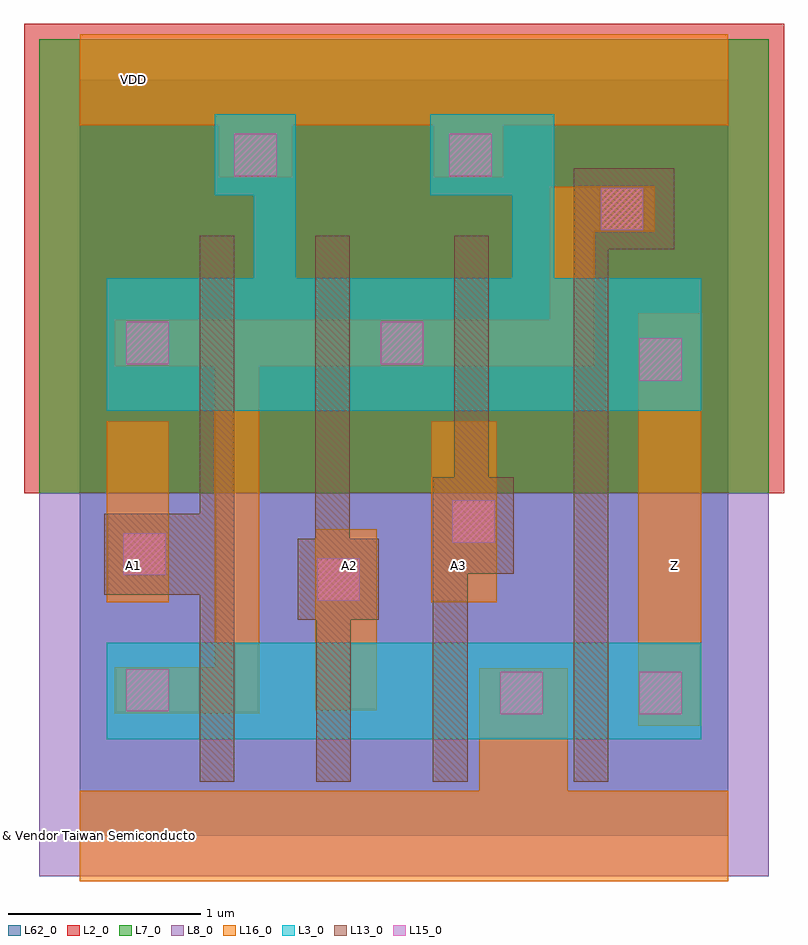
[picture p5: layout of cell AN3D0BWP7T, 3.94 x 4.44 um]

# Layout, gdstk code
import gdstk
lib = gdstk.Library(unit=1e-6, precision=1e-09)
def R(c, l, rs):  # rectangles x0, y0, x1, y1
    for r in rs: c.add(gdstk.rectangle(r[:2], r[2:], *l))
def P(c, l, *ps):  # polygons
    for p in ps: c.add(gdstk.Polygon(p, *l))
L2_0 = (2, 0)
L3_0 = (3, 0)
L7_0 = (7, 0)
L8_0 = (8, 0)
L13_0 = (13, 0)
L15_0 = (15, 0)
L16_0 = (16, 0)
L62_0 = (62, 0)

an3d0bwp7t = lib.new_cell('AN3D0BWP7T')
R(an3d0bwp7t, L2_0, [(-0.29,1.775,3.65,4.21)])
R(an3d0bwp7t, L3_0, [(0.14,0.5,3.22,1)])
P(an3d0bwp7t, L3_0, [(0.14,2.205),(0.14,2.89),(0.9,2.89),(0.9,3.32),(0.7,3.32),(0.7,3.74),(1.12,3.74),(1.12,2.89),(2.24,2.89),(2.24,3.32),(1.815,3.32),(1.815,3.74),(2.46,3.74),(2.46,2.89),(3.22,2.89),(3.22,2.205)])
R(an3d0bwp7t, L7_0, [(-0.21,1.775,3.57,4.13)])
R(an3d0bwp7t, L8_0, [(-0.21,-0.21,3.57,1.775)])
P(an3d0bwp7t, L13_0, [(0.62,0.28),(0.62,1.25),(0.125,1.25),(0.125,1.67),(0.62,1.67),(0.62,3.11),(0.8,3.11),(0.8,0.28)],
  [(2.56,0.28),(2.56,3.46),(3.08,3.46),(3.08,3.04),(2.74,3.04),(2.74,0.28)],
  [(1.83,0.28),(1.83,1.86),(1.94,1.86),(1.94,3.11),(2.12,3.11),(2.12,1.86),(2.25,1.86),(2.25,1.36),(2.01,1.36),(2.01,0.28)],
  [(1.225,0.28),(1.225,1.12),(1.13,1.12),(1.13,1.54),(1.22,1.54),(1.22,3.11),(1.4,3.11),(1.4,1.54),(1.55,1.54),(1.55,1.12),(1.405,1.12),(1.405,0.28)])
R(an3d0bwp7t, L15_0, [(2.18,0.63,2.4,0.85), (2.9,0.63,3.12,0.85), (0.24,0.645,0.46,0.865), (1.23,1.22,1.45,1.44), (0.225,1.35,0.445,1.57), (1.93,1.52,2.15,1.74), (2.9,2.36,3.12,2.58), (0.24,2.445,0.46,2.665), (1.56,2.445,1.78,2.665), (2.7,3.14,2.92,3.36), (0.8,3.42,1.02,3.64), (1.915,3.42,2.135,3.64)])
R(an3d0bwp7t, L16_0, [(2.895,0.57,3.22,2.71), (1.22,0.65,1.54,1.59), (0.14,1.21,0.46,2.15), (1.82,1.21,2.16,2.15)])
P(an3d0bwp7t, L16_0, [(0,-0.235),(0,0.235),(2.07,0.235),(2.07,0.87),(2.53,0.87),(2.53,0.235),(3.36,0.235),(3.36,-0.235)],
  [(0.72,3.415),(0.72,3.685),(0,3.685),(0,4.155),(3.36,4.155),(3.36,3.685),(2.195,3.685),(2.195,3.415),(1.835,3.415),(1.835,3.685),(1.1,3.685),(1.1,3.415)],
  [(0.18,0.635),(0.18,0.875),(0.7,0.875),(0.7,2.435),(0.18,2.435),(0.18,2.675),(2.435,2.675),(2.435,3.365),(2.98,3.365),(2.98,3.135),(2.665,3.135),(2.665,2.435),(0.93,2.435),(0.93,0.635)])
R(an3d0bwp7t, L62_0, [(0,0,3.36,3.92)])
an3d0bwp7t.add(gdstk.Label('& Vendor Taiwan Semiconductor Manufacturing Corp.', (0,0), layer=63, texttype=63))
an3d0bwp7t.add(gdstk.Label('& Product tcb018gbwp7t', (0,0), layer=63, texttype=63))
an3d0bwp7t.add(gdstk.Label('& Version 270a', (0,0), layer=63, texttype=63))
an3d0bwp7t.add(gdstk.Label('& Metric 13.171', (0,0), layer=63, texttype=63))
an3d0bwp7t.add(gdstk.Label('& Distributor TSMC', (0,0), layer=63, texttype=63))
an3d0bwp7t.add(gdstk.Label('& SerialNumber 000000', (0,0), layer=63, texttype=63))
an3d0bwp7t.add(gdstk.Label('& _Instance_tag AN3D0BWP7T', (0,0), layer=63, texttype=63))
an3d0bwp7t.add(gdstk.Label('& Vendor Taiwan Semiconductor Manufacturing Corp.', (0,0), layer=11, texttype=0))
an3d0bwp7t.add(gdstk.Label('& Product tcb018gbwp7t', (0,0), layer=11, texttype=0))
an3d0bwp7t.add(gdstk.Label('& Version 270a', (0,0), layer=11, texttype=0))
an3d0bwp7t.add(gdstk.Label('& Metric 13.171', (0,0), layer=11, texttype=0))
an3d0bwp7t.add(gdstk.Label('& Distributor TSMC', (0,0), layer=11, texttype=0))
an3d0bwp7t.add(gdstk.Label('& SerialNumber 000000', (0,0), layer=11, texttype=0))
an3d0bwp7t.add(gdstk.Label('& _Instance_tag AN3D0BWP7T', (0,0), layer=11, texttype=0))
an3d0bwp7t.add(gdstk.Label('AN3D0BWP7T', (0,0), layer=59, texttype=0))
an3d0bwp7t.add(gdstk.Label('VSS', (0.28,0), layer=40, texttype=0))
an3d0bwp7t.add(gdstk.Label('A1', (0.28,1.4), layer=40, texttype=0))
an3d0bwp7t.add(gdstk.Label('VDD', (0.28,3.92), layer=40, texttype=0))
an3d0bwp7t.add(gdstk.Label('A2', (1.4,1.4), layer=40, texttype=0))
an3d0bwp7t.add(gdstk.Label('A3', (1.96,1.4), layer=40, texttype=0))
an3d0bwp7t.add(gdstk.Label('Z', (3.08,1.4), layer=40, texttype=0))

lib.write_gds('AN3D0BWP7T.gds')
